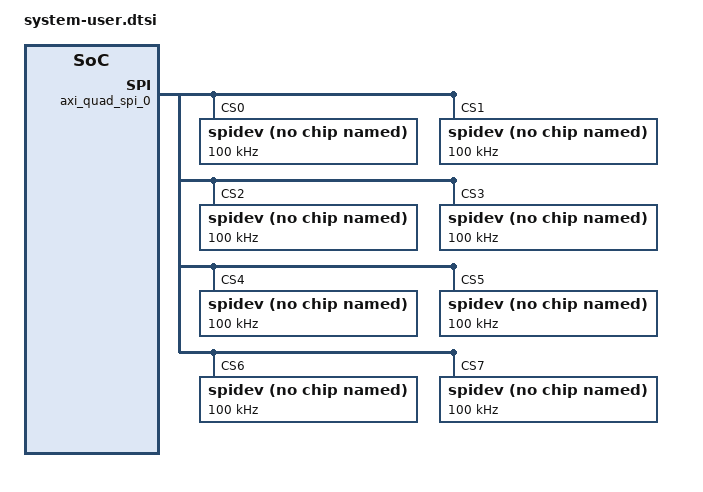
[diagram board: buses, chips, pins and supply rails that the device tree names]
/include/ "system-conf.dtsi"
/ {
};

&microzed_fmc_led_controller_0 {
        compatible = "generic-uio";
};

&amacv2_dummy_testbench_0 {
        compatible = "generic-uio";
};

&endeavour_fmc_led_controller_0 {
        compatible = "generic-uio";
};

&freq_meas_0 {
        compatible = "generic-uio";
};


&axi_quad_spi_0 {
        spidev@0 {
                compatible = "linux,spidev";
                spi-max-frequency = <100000>;
                reg = <0>;
        };
        spidev@1 {
                compatible = "linux,spidev";
                spi-max-frequency = <100000>;
                reg = <1>;
        };
        spidev@2 {
                compatible = "linux,spidev";
                spi-max-frequency = <100000>;
                reg = <2>;
        };
        spidev@3 {
                compatible = "linux,spidev";
                spi-max-frequency = <100000>;
                reg = <3>;
        };
        spidev@4 {
                compatible = "linux,spidev";
                spi-max-frequency = <100000>;
                reg = <4>;
        };
        spidev@5 {
                compatible = "linux,spidev";
                spi-max-frequency = <100000>;
                reg = <5>;
        };
        spidev@6 {
                compatible = "linux,spidev";
                spi-max-frequency = <100000>;
                reg = <6>;
        };
        spidev@7 {
                compatible = "linux,spidev";
                spi-max-frequency = <100000>;
                reg = <7>;
        };
} ;
